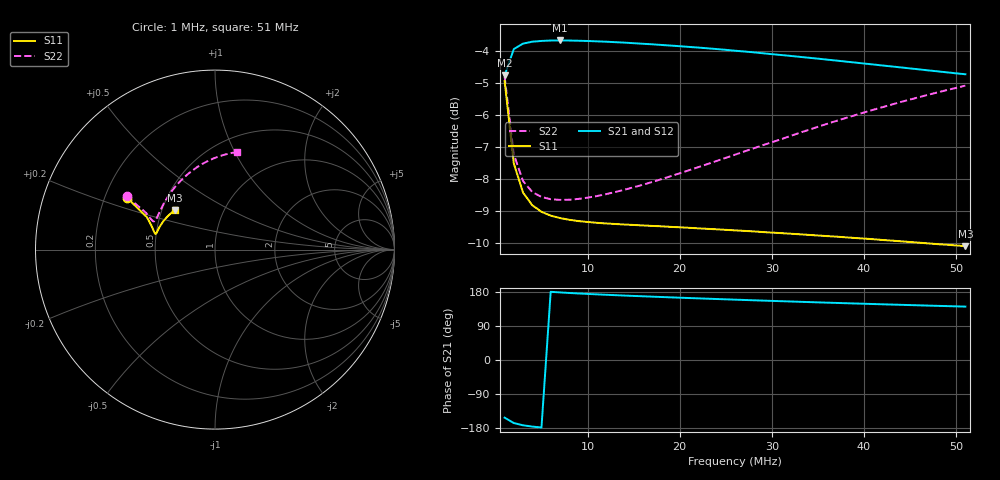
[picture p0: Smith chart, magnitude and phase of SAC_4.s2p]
# MHz S RI R 50
! S-Parameters data
! Freq  reS11  imS11  reS21  imS21  reS12  imS12  reS22  imS22
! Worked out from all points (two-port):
!   51 points, 1 MHz to 51 MHz, reference 50 ohm
!   highest |S21| = -3.68 dB at 7 MHz (marker M1); lowest = -4.8 dB at 1 MHz (marker M2)
!   |S21| within 3 dB of the highest: start of sweep to end of sweep
!   lowest |S11| = -10.1 dB at 51 MHz (marker M3), VSWR 1.91, Z = 29.3 + j14.3 ohm
!   |S11| at or under -10 dB: 46.22 MHz to end of sweep
!   |S22| runs from -8.7 to -4.8 dB; largest |S21 - S12| = 0.0026
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1  -0.4878 0.2863  -0.5105 -0.2697  -0.5079 -0.2698  -0.4923 0.2969
2  -0.3797 0.1809  -0.6169 -0.1488  -0.6148 -0.1495  -0.3834 0.2042
3  -0.3543 0.1342  -0.6413 -0.0869  -0.6395 -0.0876  -0.3566 0.1694
4  -0.3445 0.1113  -0.6497 -0.0488  -0.648 -0.0494  -0.3451 0.1581
5  -0.3394 0.0991  -0.653 -0.0214  -0.6513 -0.0221  -0.338 0.1574
6  -0.3362 0.0925  -0.6543 0.000427  -0.6525 -0.000458  -0.3325 0.1622
7  -0.334 0.0891  -0.6542 0.0188  -0.6524 0.018  -0.3275 0.1701
8  -0.3322 0.0878  -0.6534 0.0352  -0.6516 0.0341  -0.3225 0.1798
10  -0.329 0.0889  -0.6501 0.0638  -0.6485 0.0627  -0.312 0.2026
12  -0.3261 0.0929  -0.6454 0.0892  -0.6438 0.0877  -0.3002 0.2276
14  -0.3231 0.0986  -0.6397 0.1122  -0.6382 0.1105  -0.287 0.2533
18  -0.3162 0.1124  -0.6256 0.153  -0.6245 0.1519  -0.2562 0.3039
22  -0.3078 0.1273  -0.609 0.19  -0.608 0.1888  -0.22 0.3519
26  -0.2984 0.1426  -0.5899 0.2235  -0.5893 0.2221  -0.1791 0.3954
30  -0.2879 0.1573  -0.5692 0.2535  -0.5688 0.2521  -0.135 0.4334
33  -0.2795 0.168  -0.5529 0.274  -0.5529 0.2727  -0.1003 0.4587
35  -0.2736 0.1749  -0.5417 0.2869  -0.5418 0.2855  -0.0762 0.4739
37  -0.2676 0.1816  -0.5305 0.2988  -0.5307 0.2973  -0.0518 0.4874
39  -0.2612 0.1879  -0.5191 0.31  -0.5193 0.3088  -0.0271 0.4994
43  -0.2483 0.2  -0.4959 0.3308  -0.4964 0.3297  0.0225 0.5193
47  -0.2348 0.2109  -0.4727 0.3491  -0.4736 0.3483  0.072 0.5338
51  -0.2211 0.2208  -0.4499 0.3655  -0.4507 0.3647  0.1212 0.5431
